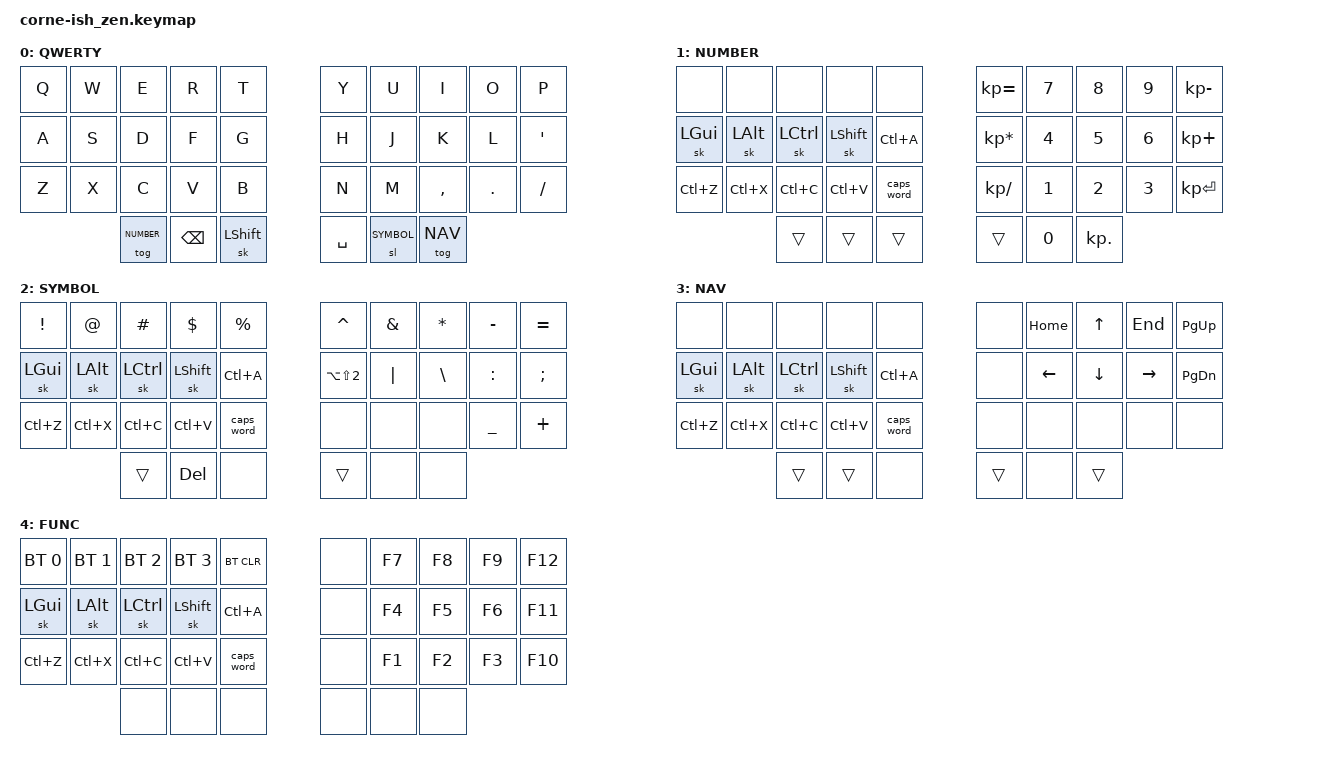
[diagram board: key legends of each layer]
/*
*
* Copyright (c) 2021 Darryl deHaan
* SPDX-License-Identifier: MIT
*
*/

#include <behaviors.dtsi>
#include <dt-bindings/zmk/keys.h>
#include <dt-bindings/zmk/bt.h>

#define QWERTY 0
#define NUMBER 1
#define SYMBOL 2
#define NAV 3
#define FUNC 4

#define COMBO_TIMEOUT_MS 30

/ {
  chosen {
    //zmk,matrix_transform = &default_transform;
    zmk,matrix_transform = &five_column_transform;
  };
};

&sk {
  quick-release;
  ignore-modifiers;
};

/ {
  combos {
    compatible = "zmk,combos";

    combo_gui_left {
      timeout-ms = <COMBO_TIMEOUT_MS>;
      key-positions = <1 2>;
      bindings = <&sk LGUI>;
    };

    combo_ctrl_left {
      timeout-ms = <COMBO_TIMEOUT_MS>;
      key-positions = <11 12>;
      bindings = <&sk LCTRL>;
    };

    combo_alt_left {
      timeout-ms = <COMBO_TIMEOUT_MS>;
      key-positions = <21 22>;
      bindings = <&sk LALT>;
    };

    combo_gui_right {
      timeout-ms = <COMBO_TIMEOUT_MS>;
      key-positions = <7 8>;
      bindings = <&sk RGUI>;
    };

    combo_ctrl_right {
      timeout-ms = <COMBO_TIMEOUT_MS>;
      key-positions = <17 18>;
      bindings = <&sk RCTRL>;
    };

    combo_alt_right {
      timeout-ms = <COMBO_TIMEOUT_MS>;
      key-positions = <27 28>;
      bindings = <&sk RALT>;
    };

    combo_esc {
      timeout-ms = <COMBO_TIMEOUT_MS>;
      key-positions = <0 1>;
      bindings = <&kp ESC>;
    };

    combo_return {
      timeout-ms = <COMBO_TIMEOUT_MS>;
      key-positions = <18 19>;
      bindings = <&kp ENTER>;
    };

    combo_tab {
      timeout-ms = <COMBO_TIMEOUT_MS>;
      key-positions = <10 11>;
      bindings = <&kp TAB>;
    };

    combo_grave {
      timeout-ms = <COMBO_TIMEOUT_MS>;
      key-positions = <8 9>;
      bindings = <&kp GRAVE>;
      layers = <QWERTY>;
    };

    combo_funclayer {
      timeout-ms = <COMBO_TIMEOUT_MS>;
      key-positions = <34 35>;
      bindings = <&sl FUNC>;
    };

    combo_left_shift {
      timeout-ms = <COMBO_TIMEOUT_MS>;
      key-positions = <20 21>;
      bindings = <&sk LSHFT>;
    };

    combo_right_shift {
      timeout-ms = <COMBO_TIMEOUT_MS>;
      key-positions = <28 29>;
      bindings = <&sk RSHFT>;
    };

    combo_left_parens {
      timeout-ms = <COMBO_TIMEOUT_MS>;
      key-positions = <13 14>;
      bindings = <&kp LPAR>;
      layers = <QWERTY>;
    };

    combo_right_parens {
      timeout-ms = <COMBO_TIMEOUT_MS>;
      key-positions = <15 16>;
      bindings = <&kp RPAR>;
      layers = <QWERTY>;
    };

    combo_left_bracket {
      timeout-ms = <COMBO_TIMEOUT_MS>;
      key-positions = <23 24>;
      bindings = <&kp LBKT>;
      layers = <QWERTY>;
    };

    combo_right_bracket {
      timeout-ms = <COMBO_TIMEOUT_MS>;
      key-positions = <25 26>;
      bindings = <&kp RBKT>;
      layers = <QWERTY>;
    };

    combo_left_brace {
      timeout-ms = <COMBO_TIMEOUT_MS>;
      key-positions = <3 4>;
      bindings = <&kp LBRC>;
      layers = <QWERTY>;
    };

    combo_right_brace {
      timeout-ms = <COMBO_TIMEOUT_MS>;
      key-positions = <5 6>;
      bindings = <&kp RBRC>;
      layers = <QWERTY>;
    };
  };
};

/ {
        keymap {
                compatible = "zmk,keymap";

                default_layer {
                        label = "QWERTY";
// -----------------------------------------------------------------------------------------
// |  Q  |  W  |  E  |  R  |  T  |   |  Y  |  U   |  I  |  O  |  P  |
// |  A  |  S  |  D  |  F  |  G  |   |  H  |  J   |  K  |  L  |  ;  |
// |  Z  |  X  |  C  |  V  |  B  |   |  N  |  M   |  ,  |  .  |  /  |
//             | DEL | BSP | NUM |   | SPC | SYM  | NAV |
                        bindings = <
   &kp Q &kp W &kp E       &kp R    &kp T        &kp Y     &kp U      &kp I     &kp O   &kp P
   &kp A &kp S &kp D       &kp F    &kp G        &kp H     &kp J      &kp K     &kp L   &kp SQT
   &kp Z &kp X &kp C       &kp V    &kp B        &kp N     &kp M      &kp COMMA &kp DOT &kp FSLH
               &tog NUMBER &kp BSPC &sk LSHFT    &kp SPACE &sl SYMBOL &tog NAV
                        >;
                };
                number_layer {
                        label = "NUMBER";
                        bindings = < 
   &none     &none     &none     &none     &none         &kp KP_EQUAL    &kp N7 &kp N8     &kp N9 &kp KP_MINUS
   &sk LGUI  &sk LALT  &sk LCTRL &sk LSHFT &kp LC(A)     &kp KP_ASTERISK &kp N4 &kp N5     &kp N6 &kp KP_PLUS
   &kp LC(Z) &kp LC(X) &kp LC(C) &kp LC(V) &caps_word    &kp KP_SLASH    &kp N1 &kp N2     &kp N3 &kp KP_ENTER
                       &trans    &trans    &trans        &trans          &kp N0 &kp KP_DOT
                        >;
                };
                symbol_layer {
                        label = "SYMBOL";
                        bindings = < 
   &kp EXCL  &kp AT    &kp HASH  &kp DOLLAR &kp PRCNT     &kp CARET      &kp AMPS &kp ASTRK &kp MINUS &kp EQUAL
   &sk LGUI  &sk LALT  &sk LCTRL &sk LSHFT  &kp LC(A)     &kp LA(LS(N2)) &kp PIPE &kp BSLH  &kp COLON &kp SEMI
   &kp LC(Z) &kp LC(X) &kp LC(C) &kp LC(V)  &caps_word    &none          &none    &none     &kp UNDER &kp PLUS
                       &trans    &kp DEL    &none         &trans         &none    &none
                        >;
                };
                nav_layer {
                        label = "NAV";
                        bindings = < 
   &none     &none     &none     &none     &none         &none  &kp HOME &kp UP   &kp END   &kp PG_UP
   &sk LGUI  &sk LALT  &sk LCTRL &sk LSHFT &kp LC(A)     &none  &kp LEFT &kp DOWN &kp RIGHT &kp PG_DN
   &kp LC(Z) &kp LC(X) &kp LC(C) &kp LC(V) &caps_word    &none  &none    &none    &none     &none    
                       &trans    &trans    &none         &trans &none    &trans 
                        >;
                };
                func_layer {
                        label = "FUNC";
                        bindings = < 
   &bt BT_SEL 0 &bt BT_SEL 1 &bt BT_SEL 2 &bt BT_SEL 3 &bt BT_CLR    &none &kp F7 &kp F8 &kp F9 &kp F12
   &sk LGUI     &sk LALT     &sk LCTRL    &sk LSHFT    &kp LC(A)     &none &kp F4 &kp F5 &kp F6 &kp F11
   &kp LC(Z)    &kp LC(X)    &kp LC(C)    &kp LC(V)    &caps_word    &none &kp F1 &kp F2 &kp F3 &kp F10
                             &none        &none        &none         &none &none  &none
                        >;
                };
        };
};
